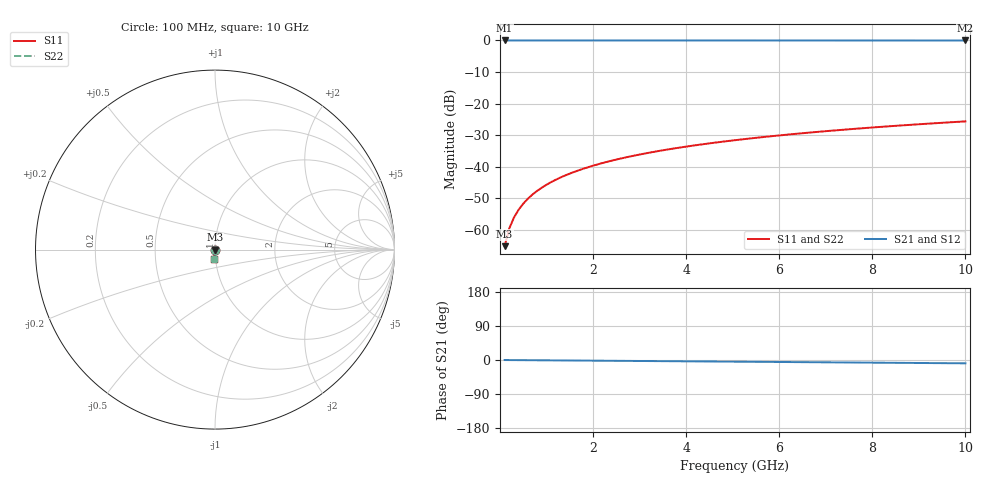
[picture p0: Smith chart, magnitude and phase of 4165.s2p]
# Hz S RI R 50.00
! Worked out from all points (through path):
!   100 points, 100 MHz to 10 GHz, reference 50 ohm
!   highest |S21| = 0.00 dB at 100 MHz (marker M1); lowest = 0.0 dB at 10 GHz (marker M2)
!   group delay of S21, straight-line fit = 2.43 ps
!   lowest |S11| = -65.2 dB at 100 MHz (marker M3), VSWR 1.00, Z = 50 - j0.0518 ohm
!   |S11| at or under -10 dB: start of sweep to end of sweep
!   |S22| runs from -65.2 to -25.6 dB; largest |S21 - S12| = 0
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1e8  0.000189 -0.000518  0.9998 -0.00151  0.9998 -0.00151  0.000189 -0.000518
2e8  0.000187 -0.00104  0.9998 -0.00302  0.9998 -0.00302  0.000187 -0.00104
3e8  0.000183 -0.00156  0.9998 -0.00453  0.9998 -0.00453  0.000183 -0.00156
4e8  0.000177 -0.00207  0.9998 -0.00605  0.9998 -0.00605  0.000177 -0.00207
5e8  0.00017 -0.00259  0.9998 -0.00756  0.9998 -0.00756  0.00017 -0.00259
6e8  0.000161 -0.00311  0.9998 -0.00907  0.9998 -0.00907  0.000161 -0.00311
7e8  0.00015 -0.00363  0.9997 -0.0106  0.9997 -0.0106  0.00015 -0.00363
8e8  0.000138 -0.00415  0.9997 -0.0121  0.9997 -0.0121  0.000138 -0.00415
9e8  0.000124 -0.00467  0.9997 -0.0136  0.9997 -0.0136  0.000124 -0.00467
1.1e9  9.18e-05 -0.00571  0.9996 -0.0166  0.9996 -0.0166  9.18e-05 -0.00571
1.4e9  3.11e-05 -0.00726  0.9995 -0.0212  0.9995 -0.0212  3.11e-05 -0.00726
1.8e9  -7.2e-05 -0.00934  0.9994 -0.0272  0.9994 -0.0272  -7.2e-05 -0.00934
2.1e9  -0.000166 -0.0109  0.9992 -0.0318  0.9992 -0.0318  -0.000166 -0.0109
2.5e9  -0.000314 -0.013  0.999 -0.0378  0.999 -0.0378  -0.000314 -0.013
2.9e9  -0.000487 -0.0151  0.9987 -0.0439  0.9987 -0.0439  -0.000487 -0.0151
3.4e9  -0.00074 -0.0177  0.9983 -0.0515  0.9983 -0.0515  -0.00074 -0.0177
4.2e9  -0.00123 -0.0218  0.9975 -0.0637  0.9975 -0.0637  -0.00123 -0.0218
5.1e9  -0.0019 -0.0265  0.9964 -0.0774  0.9964 -0.0774  -0.0019 -0.0265
5.9e9  -0.00261 -0.0307  0.9952 -0.0896  0.9952 -0.0896  -0.00261 -0.0307
6.7e9  -0.00342 -0.0348  0.9939 -0.1018  0.9939 -0.1018  -0.00342 -0.0348
8.4e9  -0.00548 -0.0436  0.9905 -0.1277  0.9905 -0.1277  -0.00548 -0.0436
1e10  -0.00784 -0.0517  0.9867 -0.1521  0.9867 -0.1521  -0.00784 -0.0517
